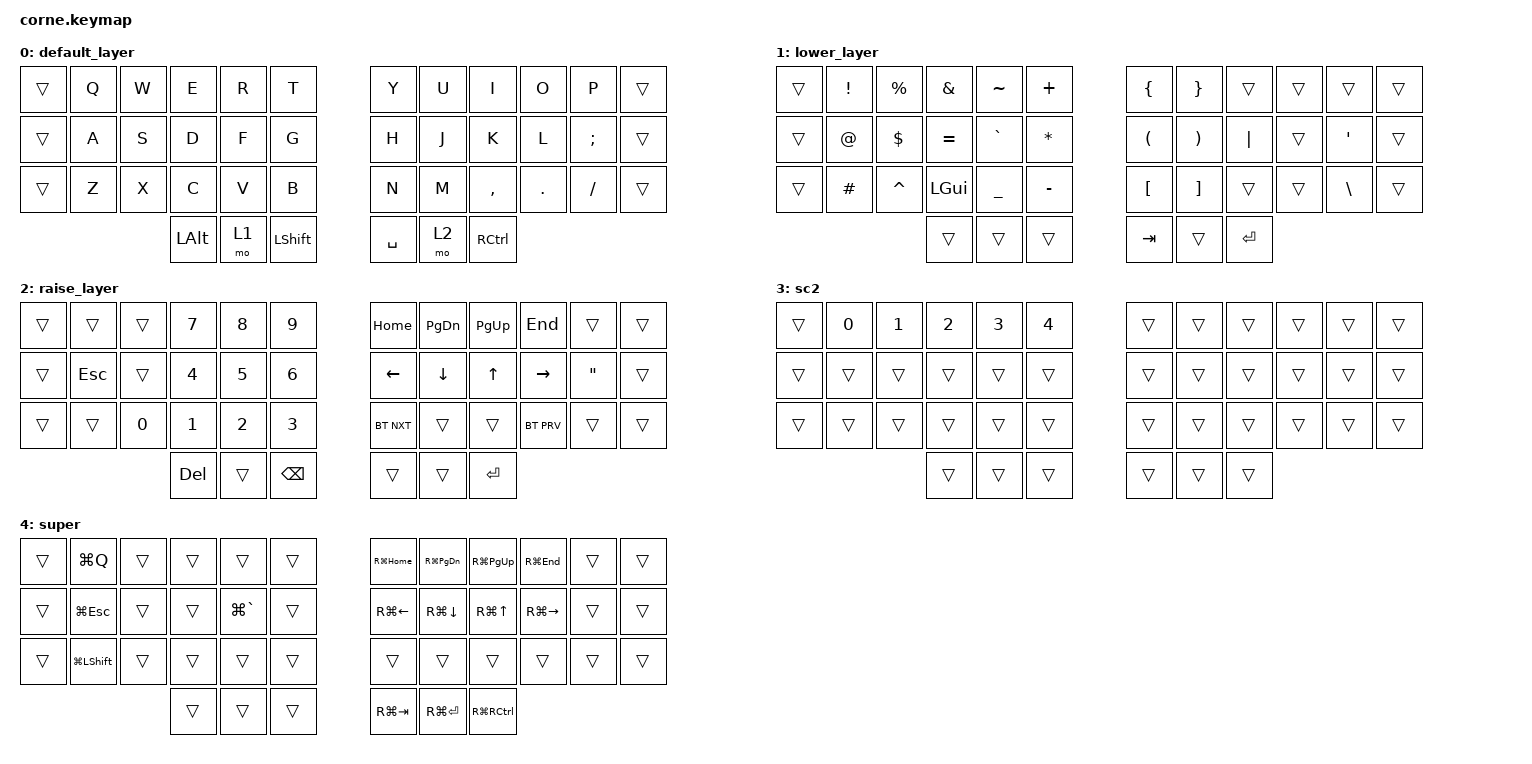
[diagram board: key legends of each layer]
/*
 * Copyright (c) 2020 The ZMK Contributors
 *
 * SPDX-License-Identifier: MIT
 */

#include <behaviors.dtsi>
#include <dt-bindings/zmk/bt.h>
#include <dt-bindings/zmk/keys.h>

/ {
    combos {
        compatible = "zmk,combos";

        to-sc2 {
            bindings = <&to 3>;
            key-positions = <10 34>;
            layers = <0>;
        };

        to-default {
            bindings = <&to 0>;
            key-positions = <10 34>;
            layers = <3>;
        };

        bt_clear {
            bindings = <&bt BT_CLR>;
            key-positions = <30 33 40>;
        };
    };

    keymap {
        compatible = "zmk,keymap";

        default_layer {
            // -----------------------------------------------------------------------------------------
            // ||  Q  |  W  |  E  |  R  |  T    |   |  Y  |  U  |  I  |  O  |  P  ||
            // ||  A  |  S  |  D  |  F  |  G    |   |  H  |  J  |  K  |  L  |  ;  ||
            // ||  Z  |  X  |  C  |  V  |  B    |   |  N  |  M  |  ,  |  .  |  /  ||
            //              | ALT | LWR | LSHFT |   | SPC | RSE | CTRL |

            bindings = <
&trans  &kp Q  &kp W  &kp E     &kp R  &kp T        &kp Y      &kp U  &kp I      &kp O    &kp P     &trans
&trans  &kp A  &kp S  &kp D     &kp F  &kp G        &kp H      &kp J  &kp K      &kp L    &kp SEMI  &trans
&trans  &kp Z  &kp X  &kp C     &kp V  &kp B        &kp N      &kp M  &kp COMMA  &kp DOT  &kp FSLH  &trans
                      &kp LALT  &mo 1  &kp LSHFT    &kp SPACE  &mo 2  &kp RCTRL
            >;
        };

        lower_layer {
            // -----------------------------------------------------------------------------------------
            // ||  !  |  %  |  &  |  ~  |  +  |   |  {  |  }  |     |     |     ||
            // ||  @  |  $  |  =  |  `  |  *  |   |  (  |  )  | "|" |     |  '  ||
            // ||  #  |  ^  |     |  _  |  -  |   |  [  |  ]  |     |     |  \  ||
            //              |     |     |     |   | TAB |     | ENT |

            bindings = <
&trans  &kp EXCL  &kp PRCNT  &kp AMPS      &kp TILDE  &kp PLUS     &kp LBRC  &kp RBRC  &trans    &trans  &trans    &trans
&trans  &kp AT    &kp DLLR   &kp EQUAL     &kp GRAVE  &kp STAR     &kp LPAR  &kp RPAR  &kp PIPE  &trans  &kp SQT   &trans
&trans  &kp HASH  &kp CARET  &kp LEFT_GUI  &kp UNDER  &kp MINUS    &kp LBKT  &kp RBKT  &trans    &trans  &kp BSLH  &trans
                             &trans        &trans     &trans       &kp TAB   &trans    &kp RET
            >;
        };

        raise_layer {
            // -----------------------------------------------------------------------------------------
            // | |     |     |  7  |  8  |   9  |   | HOME | PGDN | PGUP | END |     | |
            // | | ESC |     |  4  |  5  |   6  |   | LFT  | DWN  |  UP  | RGT |  "  | |
            // | |     |  0  |  1  |  2  |   3  |   |      |      |      |     |     | |
            //               | DEL |     | BKSP |   |      |      |      |

            bindings = <
&trans  &trans   &trans  &kp N7   &kp N8  &kp N9      &kp HOME    &kp PAGE_DOWN  &kp PAGE_UP  &kp END     &trans   &trans
&trans  &kp ESC  &trans  &kp N4   &kp N5  &kp N6      &kp LEFT    &kp DOWN       &kp UP       &kp RIGHT   &kp DQT  &trans
&trans  &trans   &kp N0  &kp N1   &kp N2  &kp N3      &bt BT_NXT  &trans         &trans       &bt BT_PRV  &trans   &trans
                         &kp DEL  &trans  &kp BSPC    &trans      &trans         &kp RETURN
            >;
        };

        sc2 {
            bindings = <
&trans  &kp N0  &kp N1  &kp N2  &kp N3  &kp N4    &trans  &trans  &trans  &trans  &trans  &trans
&trans  &trans  &trans  &trans  &trans  &trans    &trans  &trans  &trans  &trans  &trans  &trans
&trans  &trans  &trans  &trans  &trans  &trans    &trans  &trans  &trans  &trans  &trans  &trans
                        &trans  &trans  &trans    &trans  &trans  &trans
            >;
        };

        super {
            bindings = <
&trans  &kp LG(Q)           &trans  &trans  &trans         &trans    &kp RG(HOME)  &kp RG(PAGE_DOWN)  &kp RG(PAGE_UP)        &kp RG(END)    &trans  &trans
&trans  &kp LG(ESC)         &trans  &trans  &kp LG(GRAVE)  &trans    &kp RG(LEFT)  &kp RG(DOWN)       &kp RG(UP)             &kp RG(RIGHT)  &trans  &trans
&trans  &kp LG(LEFT_SHIFT)  &trans  &trans  &trans         &trans    &trans        &trans             &trans                 &trans         &trans  &trans
                                    &trans  &trans         &trans    &kp RG(TAB)   &kp RG(ENTER)      &kp RG(RIGHT_CONTROL)
            >;
        };
    };
};
